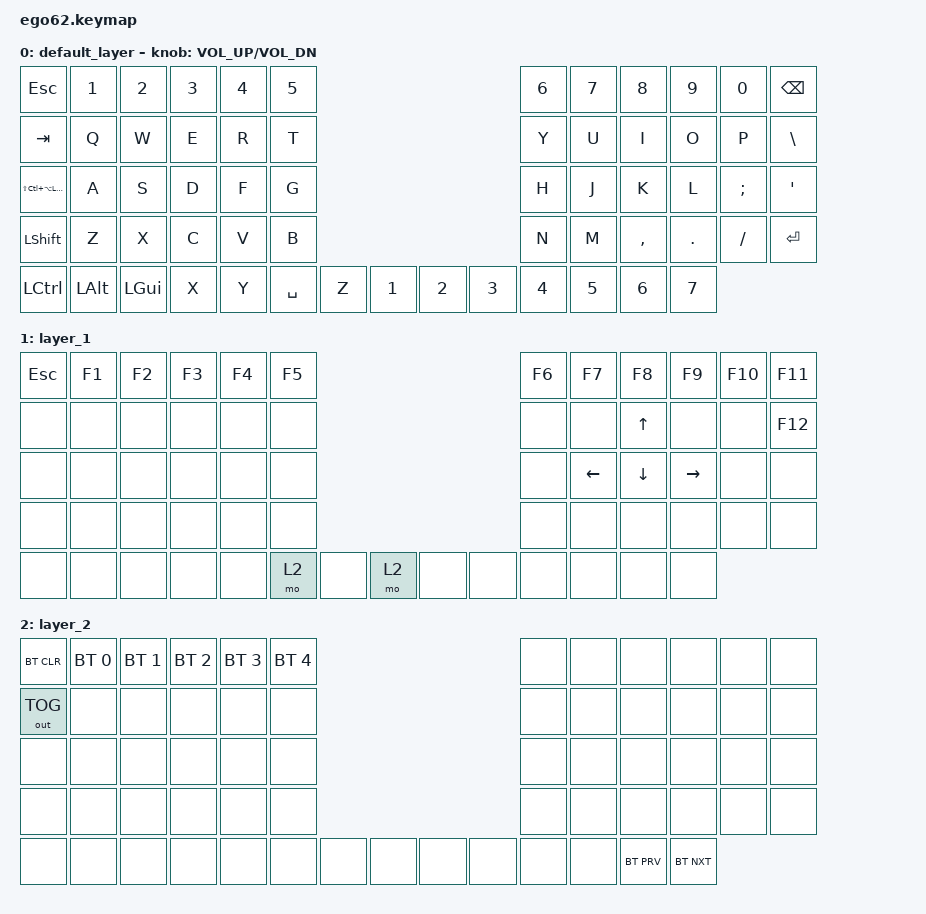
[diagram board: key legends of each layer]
/*
 * Copyright (c) 2020 The ZMK Contributors
 *
 * SPDX-License-Identifier: MIT
 */

#include <behaviors.dtsi>
#include <dt-bindings/zmk/bt.h>
#include <dt-bindings/zmk/keys.h>
#include <dt-bindings/zmk/outputs.h>

#define HYP LS(LC(LA(LGUI)))

&mt {
  quick-tap-ms = <100>;
  tapping-term-ms = <170>;
  global-quick-tap;
  flavor = "tap-preferred";
};

/ {

  behaviors {
  };

  combos {
    compatible = "zmk,combos";
  };
    keymap {
        compatible = "zmk,keymap";

        default_layer {
            bindings = <
&kp ESC       &kp N1         &kp N2         &kp N3     &kp N4    &kp N5                   &kp N6     &kp N7    &kp N8     &kp N9     &kp N0         &kp BSPC
&kp TAB       &kp Q          &kp W          &kp E      &kp R     &kp T                    &kp Y      &kp U     &kp I      &kp O      &kp P          &kp BACKSLASH
&kp HYP       &kp A          &kp S          &kp D      &kp F     &kp G                    &kp H      &kp J     &kp K      &kp L      &kp SEMICOLON  &kp SQT
&kp LSHFT     &kp Z          &kp X          &kp C      &kp V     &kp B                    &kp N      &kp M     &kp COMMA  &kp DOT    &kp FSLH       &kp RET
&kp LCTL      &kp LALT       &kp LGUI       &kp X      &kp Y     &kp SPACE  &kp Z  &kp 1  &kp 2  &kp 3  &kp 4  &kp 5  &kp 6       &kp 7
            >;

            sensor-bindings = <&inc_dec_kp C_VOL_UP C_VOL_DN>;
        };

        layer_1 {
            bindings = <
&kp ESC  &kp F1  &kp F2  &kp F3  &kp F4  &kp F5                &kp F6  &kp F7    &kp F8    &kp F9     &kp F10  &kp F11
&none    &none   &none   &none   &none   &none                 &none   &none     &kp UP    &none      &none    &kp F12
&none    &none   &none   &none   &none   &none                 &none   &kp LEFT  &kp DOWN  &kp RIGHT  &none    &none
&none    &none   &none   &none   &none   &none                 &none   &none     &none     &none      &none    &none
&none    &none   &none   &none   &none   &mo 2   &none  &mo 2  &none   &none     &none     &none      &none    &none
            >;
        };

        layer_2 {
            bindings = <
&bt BT_CLR    &bt BT_SEL 0  &bt BT_SEL 1  &bt BT_SEL 2  &bt BT_SEL 3  &bt BT_SEL 4                &none  &none  &none  &none  &none       &none
&out OUT_TOG  &none         &none         &none         &none         &none                       &none  &none  &none  &none  &none       &none
&none         &none         &none         &none         &none         &none                       &none  &none  &none  &none  &none       &none
&none         &none         &none         &none         &none         &none                       &none  &none  &none  &none  &none       &none
&none         &none         &none         &none         &none         &none         &none  &none  &none  &none  &none  &none  &bt BT_PRV  &bt BT_NXT
            >;
        };
    };
};
